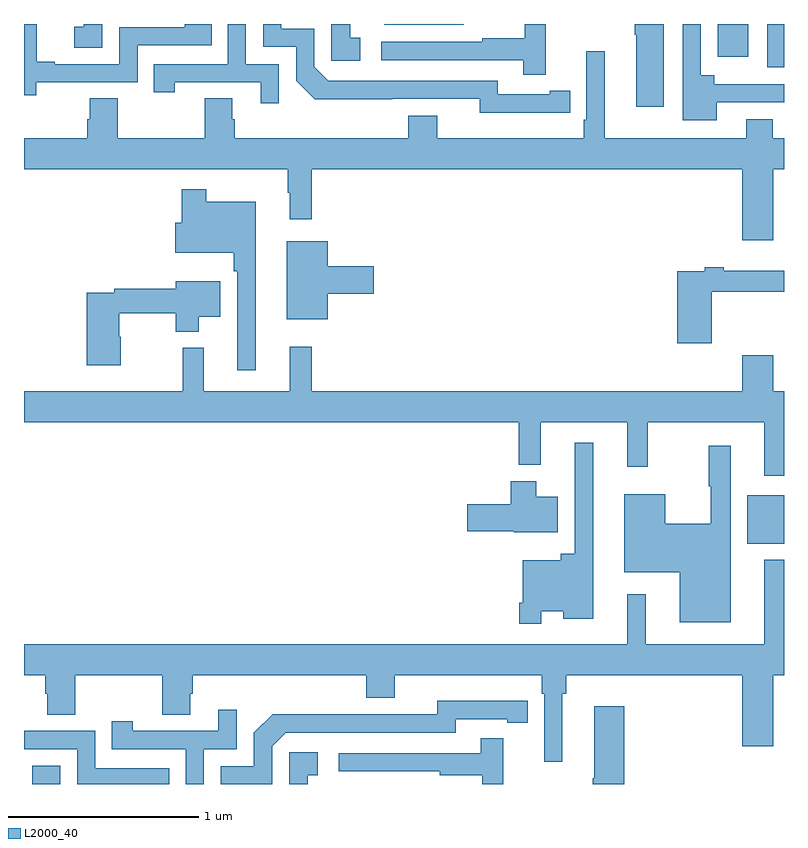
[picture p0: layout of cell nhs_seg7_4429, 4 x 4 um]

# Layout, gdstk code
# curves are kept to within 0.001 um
import gdstk
lib = gdstk.Library(unit=1e-6, precision=1e-09)
def R(c, l, rs):  # rectangles x0, y0, x1, y1
    for r in rs: c.add(gdstk.rectangle(r[:2], r[2:], *l))
def P(c, l, *ps):  # polygons
    for p in ps: c.add(gdstk.Polygon(p, *l))
L2000_40 = (2000, 40)

nhs_seg7_4429 = lib.new_cell('nhs_seg7_4429')
R(nhs_seg7_4429, L2000_40, [(389.043,1044,389.19,1044.097), (392.807,1045.265,393,1045.519), (392.912,1047.773,393,1048), (392.651,1047.828,392.812,1048), (390.896,1047.995,391.315,1048)])
P(nhs_seg7_4429, L2000_40, [(391.766,1047.534),(391.874,1047.534),(391.874,1047.65),(391.766,1047.65),(391.766,1047.63),(391.494,1047.63),(391.494,1047.702),(390.6,1047.702),(390.528,1047.774),(390.528,1047.975),(390.355,1047.975),(390.355,1048),(390.258,1048),(390.258,1047.879),(390.432,1047.879),(390.432,1047.702),(390.53,1047.605),(391.398,1047.606),(391.398,1047.533)],
  [(391.745,1048),(391.635,1048),(391.635,1047.926),(391.411,1047.926),(391.411,1047.906),(390.879,1047.906),(390.879,1047.81),(391.627,1047.81),(391.627,1047.732),(391.745,1047.732)],
  [(390.342,1047.789),(390.168,1047.789),(390.168,1048),(390.072,1048),(390.072,1047.789),(389.683,1047.789),(389.683,1047.642),(389.794,1047.642),(389.794,1047.693),(390.245,1047.693),(390.245,1047.582),(390.342,1047.582)],
  [(389.412,1048),(389.314,1048),(389.314,1047.985),(389.265,1047.985),(389.265,1047.876),(389.412,1047.876)],
  [(392.647,1047.588),(393,1047.588),(393,1047.684),(392.632,1047.684),(392.632,1047.73),(392.562,1047.73),(392.562,1048),(392.466,1048),(392.466,1047.494),(392.647,1047.494)],
  [(392.368,1048),(392.215,1048),(392.215,1047.943),(392.222,1047.943),(392.222,1047.564),(392.368,1047.564)],
  [(389.064,1047.693),(389.598,1047.693),(389.598,1047.888),(389.987,1047.888),(389.987,1048),(389.847,1048),(389.847,1047.984),(389.502,1047.984),(389.502,1047.789),(389.161,1047.789),(389.161,1047.802),(389.066,1047.802),(389.066,1048),(389,1048),(389,1047.625),(389.064,1047.625)],
  [(390.769,1047.927),(390.716,1047.927),(390.716,1048),(390.618,1048),(390.618,1047.807),(390.769,1047.807)],
  [(392.944,1047.236),(393,1047.236),(393,1047.4),(392.941,1047.4),(392.941,1047.499),(392.801,1047.499),(392.801,1047.4),(392.056,1047.4),(392.056,1047.856),(391.959,1047.856),(391.959,1047.496),(391.946,1047.496),(391.946,1047.4),(391.174,1047.4),(391.174,1047.517),(391.022,1047.517),(391.022,1047.4),(390.11,1047.4),(390.11,1047.498),(390.097,1047.498),(390.097,1047.608),(389.95,1047.608),(389.95,1047.4),(389.493,1047.4),(389.493,1047.608),(389.345,1047.608),(389.345,1047.498),(389.333,1047.498),(389.333,1047.4),(389,1047.4),(389,1047.236),(390.387,1047.236),(390.387,1047.113),(390.398,1047.113),(390.398,1046.973),(390.515,1046.973),(390.515,1047.236),(392.78,1047.236),(392.78,1046.862),(392.944,1046.862)],
  [(390.22,1047.064),(389.959,1047.064),(389.959,1047.13),(389.83,1047.13),(389.83,1046.953),(389.796,1046.953),(389.796,1046.795),(390.103,1046.795),(390.103,1046.699),(390.123,1046.699),(390.123,1046.178),(390.22,1046.178)],
  [(390.598,1046.579),(390.841,1046.579),(390.841,1046.726),(390.598,1046.726),(390.598,1046.857),(390.383,1046.857),(390.383,1046.447),(390.598,1046.447)],
  [(392.621,1046.592),(393,1046.592),(393,1046.701),(392.684,1046.701),(392.684,1046.72),(392.584,1046.72),(392.584,1046.7),(392.438,1046.7),(392.438,1046.319),(392.621,1046.319)],
  [(389.508,1046.355),(389.5,1046.355),(389.5,1046.478),(389.798,1046.478),(389.798,1046.381),(389.92,1046.381),(389.92,1046.459),(390.034,1046.459),(390.034,1046.647),(389.798,1046.647),(389.798,1046.606),(389.476,1046.606),(389.476,1046.586),(389.33,1046.586),(389.33,1046.205),(389.508,1046.205)],
  [(393,1046.068),(392.944,1046.068),(392.944,1046.257),(392.78,1046.257),(392.78,1046.068),(390.515,1046.068),(390.515,1046.302),(390.398,1046.302),(390.398,1046.068),(389.945,1046.068),(389.945,1046.296),(389.835,1046.296),(389.835,1046.068),(389,1046.068),(389,1045.904),(391.603,1045.904),(391.603,1045.679),(391.721,1045.679),(391.721,1045.904),(392.174,1045.904),(392.174,1045.671),(392.284,1045.671),(392.284,1045.904),(392.897,1045.904),(392.897,1045.623),(393,1045.623)],
  [(391.722,1044.908),(391.838,1044.908),(391.838,1044.869),(391.996,1044.869),(391.996,1045.795),(391.899,1045.795),(391.899,1045.213),(391.826,1045.213),(391.826,1045.177),(391.626,1045.177),(391.626,1044.955),(391.606,1044.955),(391.606,1044.843),(391.722,1044.843)],
  [(392.719,1045.78),(392.605,1045.78),(392.605,1045.566),(392.615,1045.566),(392.615,1045.369),(392.374,1045.369),(392.374,1045.525),(392.159,1045.525),(392.159,1045.115),(392.45,1045.115),(392.45,1044.851),(392.719,1044.851)],
  [(391.81,1045.513),(391.696,1045.513),(391.696,1045.594),(391.562,1045.594),(391.562,1045.473),(391.332,1045.473),(391.332,1045.331),(391.578,1045.331),(391.578,1045.325),(391.81,1045.325)],
  [(391.834,1044.476),(391.853,1044.476),(391.853,1044.572),(392.78,1044.572),(392.78,1044.198),(392.944,1044.198),(392.944,1044.572),(393,1044.572),(393,1045.18),(392.897,1045.18),(392.897,1044.736),(392.273,1044.736),(392.273,1045),(392.174,1045),(392.174,1044.736),(389,1044.736),(389,1044.572),(389.111,1044.572),(389.111,1044.474),(389.123,1044.474),(389.123,1044.364),(389.271,1044.364),(389.271,1044.572),(389.728,1044.572),(389.728,1044.364),(389.875,1044.364),(389.875,1044.474),(389.888,1044.474),(389.888,1044.572),(390.8,1044.572),(390.8,1044.455),(390.952,1044.455),(390.952,1044.572),(391.724,1044.572),(391.724,1044.476),(391.737,1044.476),(391.737,1044.117),(391.834,1044.117)],
  [(390.306,1044.198),(390.378,1044.27),(391.272,1044.27),(391.272,1044.342),(391.544,1044.342),(391.544,1044.322),(391.652,1044.322),(391.652,1044.438),(391.176,1044.439),(391.176,1044.366),(390.716,1044.366),(390.716,1044.368),(390.308,1044.368),(390.21,1044.27),(390.21,1044.093),(390.036,1044.093),(390.036,1044),(390.306,1044)],
  [(392.159,1044.409),(392,1044.409),(392,1044.029),(391.993,1044.029),(391.993,1044),(392.159,1044)],
  [(389.946,1044.183),(390.12,1044.183),(390.12,1044.391),(390.023,1044.391),(390.023,1044.279),(389.572,1044.279),(389.572,1044.331),(389.461,1044.331),(389.461,1044.183),(389.85,1044.183),(389.85,1044),(389.946,1044)],
  [(389.765,1044.084),(389.376,1044.084),(389.376,1044.279),(389,1044.279),(389,1044.183),(389.28,1044.183),(389.28,1044),(389.765,1044)],
  [(391.523,1044.241),(391.405,1044.241),(391.405,1044.162),(390.657,1044.162),(390.657,1044.066),(391.189,1044.066),(391.189,1044.046),(391.413,1044.046),(391.413,1044),(391.523,1044)],
  [(390.494,1044.045),(390.547,1044.045),(390.547,1044.166),(390.396,1044.166),(390.396,1044),(390.494,1044)])

lib.write_gds('nhs_seg7_4429.gds')
